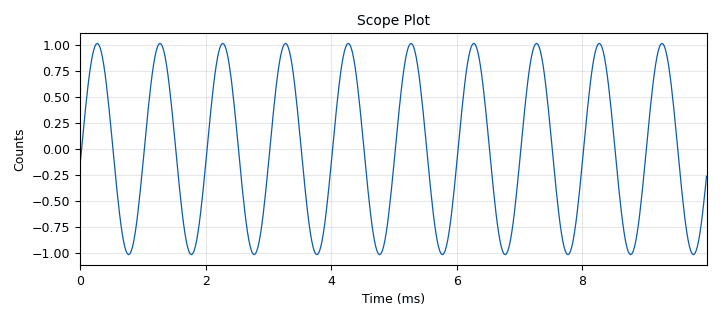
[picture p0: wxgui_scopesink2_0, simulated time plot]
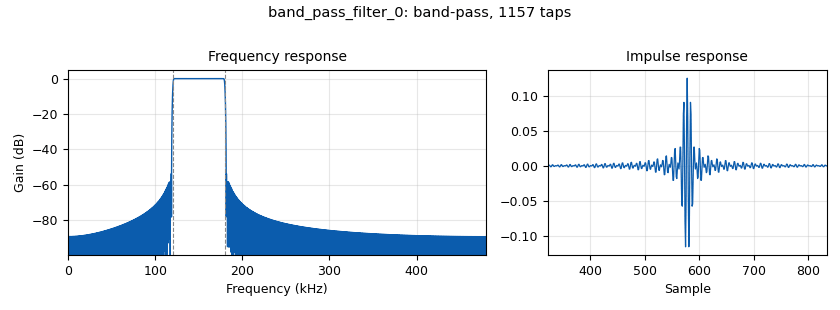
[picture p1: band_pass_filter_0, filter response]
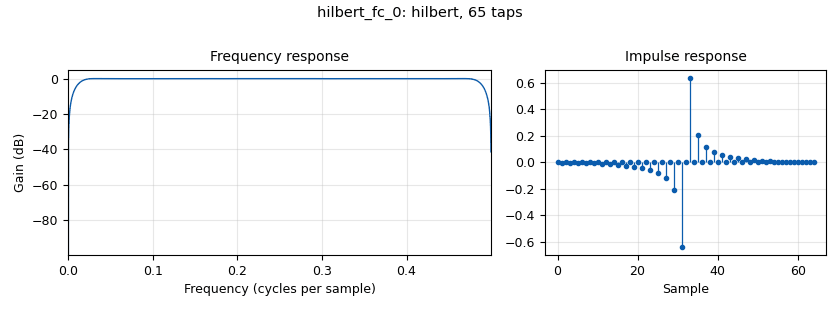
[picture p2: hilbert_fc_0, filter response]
<?xml version='1.0' encoding='utf-8'?>
<?grc format='1' created='3.7.11'?>
<flow_graph>
<block>
<key>options</key>
<param><key>id</key><value>top_block</value></param>
<param><key>generate_options</key><value>wx_gui</value></param>
</block>
<block>
<key>variable</key>
<param><key>id</key><value>samp_rate</value></param>
<param><key>value</key><value>48000</value></param>
</block>
<block>
<key>analog_am_demod_cf</key>
<param><key>id</key><value>analog_am_demod_cf_0_0</value></param>
<param><key>audio_decim</key><value>10</value></param>
<param><key>audio_pass</key><value>8000</value></param>
<param><key>audio_stop</key><value>10000</value></param>
<param><key>chan_rate</key><value>samp_rate*10</value></param>
</block>
<block>
<key>analog_sig_source_x</key>
<param><key>id</key><value>analog_sig_source_x_0</value></param>
<param><key>amp</key><value>1</value></param>
<param><key>freq</key><value>1000</value></param>
<param><key>offset</key><value>0</value></param>
<param><key>type</key><value>float</value></param>
<param><key>samp_rate</key><value>samp_rate</value></param>
<param><key>waveform</key><value>analog.GR_COS_WAVE</value></param>
</block>
<block>
<key>band_pass_filter</key>
<param><key>id</key><value>band_pass_filter_0</value></param>
<param><key>decim</key><value>2</value></param>
<param><key>type</key><value>fir_filter_ccf</value></param>
<param><key>gain</key><value>1</value></param>
<param><key>high_cutoff_freq</key><value>180e3</value></param>
<param><key>low_cutoff_freq</key><value>120e3</value></param>
<param><key>samp_rate</key><value>samp_rate*20</value></param>
<param><key>width</key><value>2e3</value></param>
<param><key>win</key><value>firdes.WIN_HAMMING</value></param>
</block>
<block>
<key>blocks_add_const_vxx</key>
<param><key>id</key><value>blocks_add_const_vxx_1</value></param>
<param><key>const</key><value>1</value></param>
<param><key>type</key><value>float</value></param>
</block>
<block>
<key>blocks_multiply_const_vxx</key>
<param><key>id</key><value>blocks_multiply_const_vxx_0</value></param>
<param><key>const</key><value>500e-3</value></param>
<param><key>type</key><value>float</value></param>
</block>
<block>
<key>blocks_multiply_const_vxx</key>
<param><key>id</key><value>blocks_multiply_const_vxx_1</value></param>
<param><key>const</key><value>4</value></param>
<param><key>type</key><value>float</value></param>
</block>
<block>
<key>blocks_multiply_xx</key>
<param><key>id</key><value>blocks_multiply_xx_0</value></param>
<param><key>type</key><value>float</value></param>
</block>
<block>
<key>blocks_throttle</key>
<param><key>id</key><value>blocks_throttle_0</value></param>
<param><key>samples_per_second</key><value>samp_rate</value></param>
<param><key>type</key><value>float</value></param>
</block>
<block>
<key>blocks_wavfile_sink</key>
<param><key>id</key><value>blocks_wavfile_sink_0</value></param>
<param><key>bits_per_sample</key><value>16</value></param>
<param><key>file</key><value>sin.wav</value></param>
<param><key>samp_rate</key><value>samp_rate</value></param>
</block>
<block>
<key>analog_sig_source_x</key>
<param><key>id</key><value>carrier</value></param>
<param><key>amp</key><value>1</value></param>
<param><key>freq</key><value>150000</value></param>
<param><key>offset</key><value>0</value></param>
<param><key>type</key><value>float</value></param>
<param><key>samp_rate</key><value>samp_rate*20</value></param>
<param><key>waveform</key><value>analog.GR_COS_WAVE</value></param>
</block>
<block>
<key>hilbert_fc</key>
<param><key>id</key><value>hilbert_fc_0</value></param>
<param><key>num_taps</key><value>65</value></param>
<param><key>win</key><value>firdes.WIN_HAMMING</value></param>
</block>
<block>
<key>rational_resampler_xxx</key>
<param><key>id</key><value>rational_resampler_xxx_1</value></param>
<param><key>decim</key><value>1</value></param>
<param><key>interp</key><value>20</value></param>
<param><key>taps</key><value></value></param>
<param><key>type</key><value>fff</value></param>
</block>
<block>
<key>wxgui_scopesink2</key>
<param><key>id</key><value>wxgui_scopesink2_0</value></param>
<param><key>ac_couple</key><value>False</value></param>
<param><key>num_inputs</key><value>1</value></param>
<param><key>samp_rate</key><value>samp_rate</value></param>
<param><key>t_scale</key><value>0</value></param>
<param><key>title</key><value>Scope Plot</value></param>
<param><key>trig_mode</key><value>wxgui.TRIG_MODE_AUTO</value></param>
<param><key>type</key><value>float</value></param>
<param><key>v_offset</key><value>0</value></param>
<param><key>v_scale</key><value>0</value></param>
<param><key>xy_mode</key><value>False</value></param>
<param><key>y_axis_label</key><value>Counts</value></param>
</block>
<connection><source_block_id>analog_am_demod_cf_0_0</source_block_id><sink_block_id>blocks_multiply_const_vxx_1</sink_block_id><source_key>0</source_key><sink_key>0</sink_key></connection>
<connection><source_block_id>analog_sig_source_x_0</source_block_id><sink_block_id>blocks_throttle_0</sink_block_id><source_key>0</source_key><sink_key>0</sink_key></connection>
<connection><source_block_id>band_pass_filter_0</source_block_id><sink_block_id>analog_am_demod_cf_0_0</sink_block_id><source_key>0</source_key><sink_key>0</sink_key></connection>
<connection><source_block_id>blocks_add_const_vxx_1</source_block_id><sink_block_id>blocks_multiply_xx_0</sink_block_id><source_key>0</source_key><sink_key>0</sink_key></connection>
<connection><source_block_id>blocks_multiply_const_vxx_0</source_block_id><sink_block_id>rational_resampler_xxx_1</sink_block_id><source_key>0</source_key><sink_key>0</sink_key></connection>
<connection><source_block_id>blocks_multiply_const_vxx_1</source_block_id><sink_block_id>blocks_wavfile_sink_0</sink_block_id><source_key>0</source_key><sink_key>0</sink_key></connection>
<connection><source_block_id>blocks_multiply_const_vxx_1</source_block_id><sink_block_id>wxgui_scopesink2_0</sink_block_id><source_key>0</source_key><sink_key>0</sink_key></connection>
<connection><source_block_id>blocks_multiply_xx_0</source_block_id><sink_block_id>hilbert_fc_0</sink_block_id><source_key>0</source_key><sink_key>0</sink_key></connection>
<connection><source_block_id>blocks_throttle_0</source_block_id><sink_block_id>blocks_multiply_const_vxx_0</sink_block_id><source_key>0</source_key><sink_key>0</sink_key></connection>
<connection><source_block_id>carrier</source_block_id><sink_block_id>blocks_multiply_xx_0</sink_block_id><source_key>0</source_key><sink_key>1</sink_key></connection>
<connection><source_block_id>hilbert_fc_0</source_block_id><sink_block_id>band_pass_filter_0</sink_block_id><source_key>0</source_key><sink_key>0</sink_key></connection>
<connection><source_block_id>rational_resampler_xxx_1</source_block_id><sink_block_id>blocks_add_const_vxx_1</sink_block_id><source_key>0</source_key><sink_key>0</sink_key></connection>
</flow_graph>
